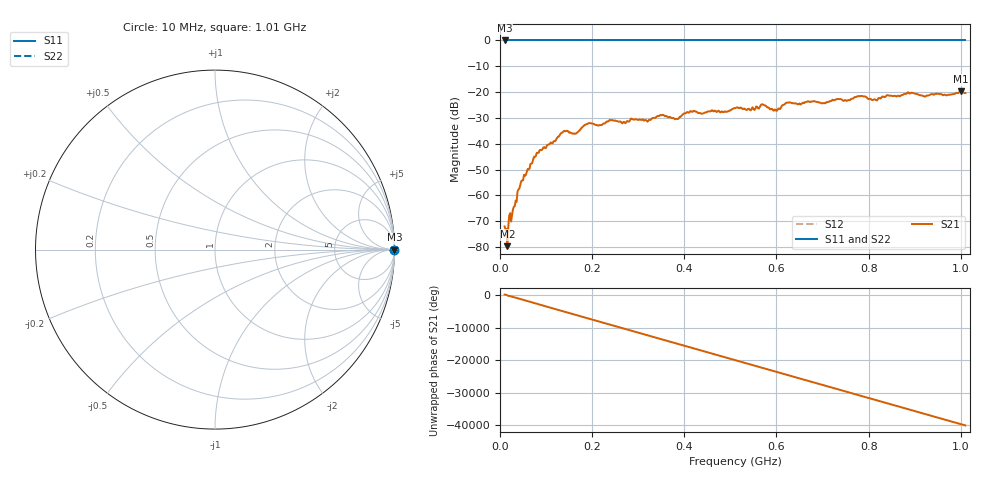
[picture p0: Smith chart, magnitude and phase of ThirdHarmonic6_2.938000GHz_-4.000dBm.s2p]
! 8/17/2025 8:13:26 AM
! C:\ANRITSUVNA\TEMP\TEMP.S2P
! CHANNEL.1
! TR.MEASUREMENT
! RAW.DATA
! RF.CORRECTION.OFF
! AVERAGING.OFF
! IF.BANDWIDTH: 5KHZ
! SWEEPTYPE:  FREQ.SWEEP(Linear)
! Reference Plane Port Info
! PORT:  PORT1  PORT2
! DISTANCE:  0  m  0  m
! TIME:  0  s  0  s
! PHASE.OFFSET:  0  deg.  0  deg.
! LOSS:  0  dB  0  dB
! REF.LOSS:  0  dB  0  dB
! REF.FREQ:  0  Hz  0  Hz
! Power Info
! POWER:  -20  dBm  -20  dBm
! EFF.POWER:  -20  dBm  -20  dBm
! SOURCE.ATTEN:  0  dB  0  dB
! TEST.ATTEN:  0  dB  0  dB
# GHZ S RI R 50.0
! FREQ.GHZ  S11RE  S11IM  S21RE  S21IM  S12RE  S12IM  S22RE  S22IM
!; PortSelection: Port_12
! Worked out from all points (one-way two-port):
!   501 points, 10 MHz to 1.01 GHz, reference 50 ohm
!   highest |S21| = -19.73 dB at 1 GHz (marker M1); lowest = -79.7 dB at 16 MHz (marker M2)
!   lowest |S11| = 0.0 dB at 10 MHz (marker M3)
!   |S11| at or under -10 dB: nowhere
!   |S22| runs from 0.0 to 0.0 dB; largest |S21 - S12| = 1.1
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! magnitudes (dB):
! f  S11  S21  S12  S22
! 10 MHz  0.0  -72.0  0.0  0.0
! 12 MHz  0.0  -73.2  0.0  0.0
! 16 MHz  0.0  -79.7  0.0  0.0
! 42 MHz  0.0  -57.4  0.0  0.0
! 78 MHz  0.0  -44.6  0.0  0.0
! 136 MHz  0.0  -35.6  0.0  0.0
! 162 MHz  0.0  -36.2  0.0  0.0
! 178 MHz  0.0  -33.7  0.0  0.0
! 192 MHz  0.0  -32.1  0.0  0.0
! 344 MHz  0.0  -29.3  0.0  0.0
! 384 MHz  0.0  -30.4  0.0  0.0
! 416 MHz  0.0  -27.6  0.0  0.0
! 510 MHz  0.0  -26.2  0.0  0.0
! 570 MHz  0.0  -24.8  0.0  0.0
! 598 MHz  0.0  -26.9  0.0  0.0
! 624 MHz  0.0  -24.1  0.0  0.0
! 678 MHz  0.0  -23.6  0.0  0.0
! 780 MHz  0.0  -21.6  0.0  0.0
! 814 MHz  0.0  -22.8  0.0  0.0
! 844 MHz  0.0  -21.4  0.0  0.0
! 1 GHz  0.0  -19.7  0.0  0.0
! 1.01 GHz  0.0  -20.4  0.0  0.0
